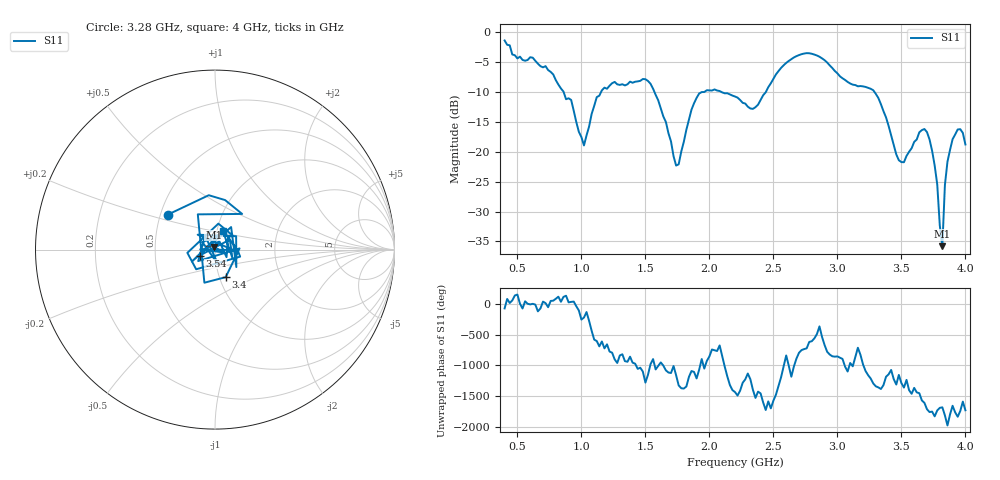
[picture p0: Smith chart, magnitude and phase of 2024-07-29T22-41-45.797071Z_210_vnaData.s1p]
!Created with skrf (http://scikit-rf.org).
# Hz S RI R 50.0
!freq ReS11 ImS11
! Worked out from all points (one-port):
!   181 points, 400 MHz to 4 GHz, reference 50 ohm
!   lowest |S11| = -35.8 dB at 3.82 GHz (marker M1), VSWR 1.03, Z = 49.3 + j1.47 ohm
!   |S11| at or under -10 dB: 1.571 GHz to 1.961 GHz (390 MHz wide, 22.1 % of centre); 2.094 GHz to 2.441 GHz (347.5 MHz wide, 15.3 % of centre); 3.29 GHz to end of sweep (the widest 3 of 4)
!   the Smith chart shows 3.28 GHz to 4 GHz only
!   S11 on the Smith chart (normalised r, x): 3.28 GHz: 0.55, +0.24; 3.4 GHz: 1.07, -0.34; 3.54 GHz: 0.84, -0.06; 4 GHz: 1.07, +0.23
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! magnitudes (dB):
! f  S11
! 400 MHz  -1.4
! 860 MHz  -9.9
! 920 MHz  -11.3
! 1.02 GHz  -18.9
! 1.12 GHz  -10.9
! 1.3 GHz  -8.8
! 1.54 GHz  -8.6
! 1.76 GHz  -22.1
! 1.86 GHz  -13.0
! 1.92 GHz  -10.3
! 2.2 GHz  -10.8
! 2.34 GHz  -12.8
! 2.66 GHz  -4.2
! 2.84 GHz  -3.9
! 3.1 GHz  -8.6
! 3.28 GHz  -9.7
! 3.4 GHz  -15.7
! 3.48 GHz  -21.4
! 3.54 GHz  -20.7
! 3.56 GHz  -20.0
! 3.7 GHz  -16.7
! 3.78 GHz  -25.5
! 3.8 GHz  -32.3
! 3.82 GHz  -35.8
! 3.84 GHz  -25.5
! 3.88 GHz  -19.7
! 3.94 GHz  -16.3
! 4 GHz  -18.8
